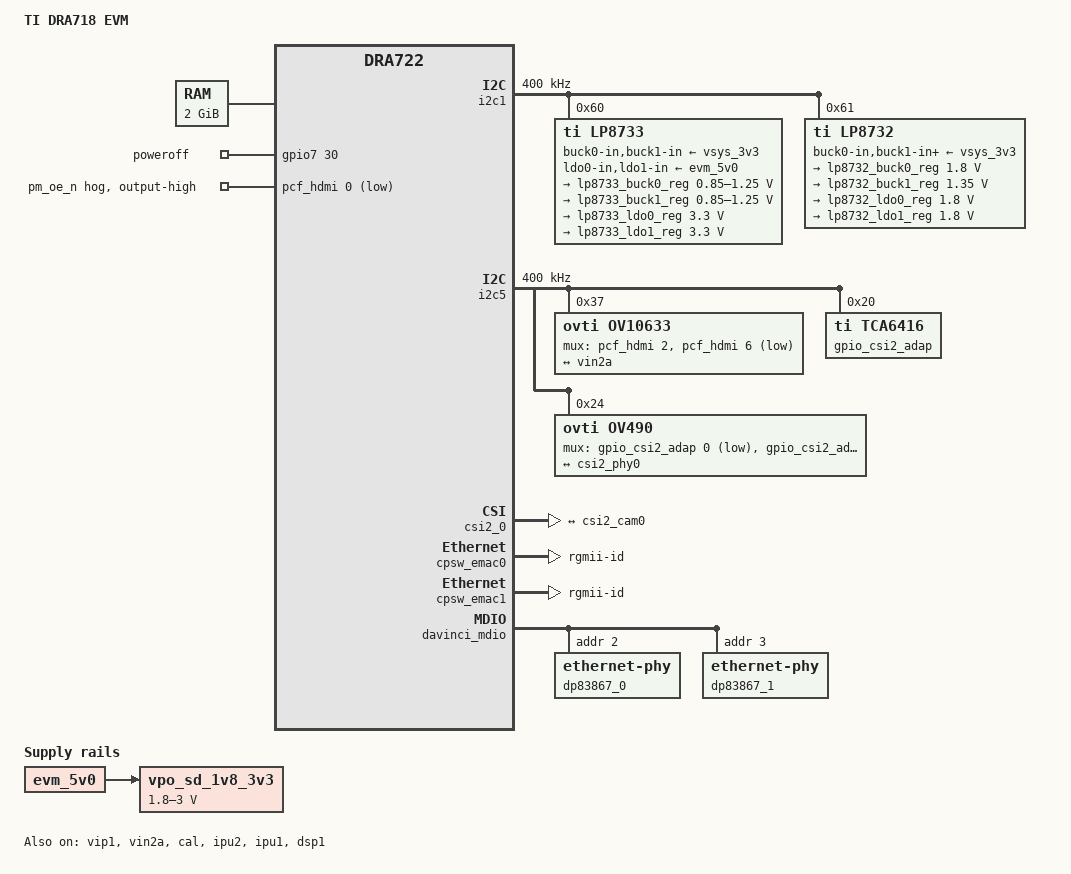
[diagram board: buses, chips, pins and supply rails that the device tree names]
/*
 * Copyright (C) 2016 Texas Instruments Incorporated - http://www.ti.com/
 *
 * This program is free software; you can redistribute it and/or modify
 * it under the terms of the GNU General Public License version 2 as
 * published by the Free Software Foundation.
 */

#include "dra72-evm-common.dtsi"
#include <dt-bindings/net/ti-dp83867.h>

/ {
	compatible = "ti,dra718-evm", "ti,dra718", "ti,dra722", "ti,dra72", "ti,dra7";
	model = "TI DRA718 EVM";

	memory {
		device_type = "memory";
		reg = <0x0 0x80000000 0x0 0x80000000>; /* 2GB */
	};

	reserved-memory {
		#address-cells = <2>;
		#size-cells = <2>;
		ranges;

		ipu2_cma_pool: ipu2_cma@95800000 {
			compatible = "shared-dma-pool";
			reg = <0x0 0x95800000 0x0 0x3800000>;
			reusable;
			status = "okay";
		};

		dsp1_cma_pool: dsp1_cma@99000000 {
			compatible = "shared-dma-pool";
			reg = <0x0 0x99000000 0x0 0x4000000>;
			reusable;
			status = "okay";
		};

		ipu1_cma_pool: ipu1_cma@9d000000 {
			compatible = "shared-dma-pool";
			reg = <0x0 0x9d000000 0x0 0x2000000>;
			reusable;
			status = "okay";
		};
	};

	vpo_sd_1v8_3v3: gpio-regulator-TPS74801 {
		compatible = "regulator-gpio";

		regulator-name = "vddshv8";
		regulator-min-microvolt = <1800000>;
		regulator-max-microvolt = <3000000>;
		regulator-boot-on;
		vin-supply = <&evm_5v0>;

		gpios = <&gpio7 11 GPIO_ACTIVE_HIGH>;
		states = <1800000 0x0
			  3000000 0x1>;
	};

	poweroff: gpio-poweroff {
		compatible = "gpio-poweroff";
		gpios = <&gpio7 30 GPIO_ACTIVE_HIGH>;
		input;
	};
};

&dra7_pmx_core {
	mmc1_pins_sdr12: pinmux_mmc1_sdr12_pins {
		pinctrl-single,pins = <
			DRA7XX_CORE_IOPAD(0x3754, (PIN_INPUT_PULLUP | MUX_MODE0)) /* mmc1_clk.clk */
			DRA7XX_CORE_IOPAD(0x3758, (PIN_INPUT_PULLUP | MUX_MODE0)) /* mmc1_cmd.cmd */
			DRA7XX_CORE_IOPAD(0x375c, (PIN_INPUT_PULLUP | MUX_MODE0)) /* mmc1_dat0.dat0 */
			DRA7XX_CORE_IOPAD(0x3760, (PIN_INPUT_PULLUP | MUX_MODE0)) /* mmc1_dat1.dat1 */
			DRA7XX_CORE_IOPAD(0x3764, (PIN_INPUT_PULLUP | MUX_MODE0)) /* mmc1_dat2.dat2 */
			DRA7XX_CORE_IOPAD(0x3768, (PIN_INPUT_PULLUP | MUX_MODE0)) /* mmc1_dat3.dat3 */
		>;
	};

	mmc1_pins_hs: mmc1_pins_hs {
		pinctrl-single,pins = <
			DRA7XX_CORE_IOPAD(0x3754, (PIN_INPUT_PULLUP | MUX_MODE0)) /* mmc1_clk.clk */
			DRA7XX_CORE_IOPAD(0x3758, (PIN_INPUT_PULLUP | MUX_MODE0)) /* mmc1_cmd.cmd */
			DRA7XX_CORE_IOPAD(0x375c, (PIN_INPUT_PULLUP | MUX_MODE0)) /* mmc1_dat0.dat0 */
			DRA7XX_CORE_IOPAD(0x3760, (PIN_INPUT_PULLUP | MUX_MODE0)) /* mmc1_dat1.dat1 */
			DRA7XX_CORE_IOPAD(0x3764, (PIN_INPUT_PULLUP | MUX_MODE0)) /* mmc1_dat2.dat2 */
			DRA7XX_CORE_IOPAD(0x3768, (PIN_INPUT_PULLUP | MUX_MODE0)) /* mmc1_dat3.dat3 */
		>;
	};

	mmc1_pins_sdr25: pinmux_mmc1_sdr25_pins {
		pinctrl-single,pins = <
			DRA7XX_CORE_IOPAD(0x3754, (PIN_INPUT_PULLUP | MUX_MODE0)) /* mmc1_clk.clk */
			DRA7XX_CORE_IOPAD(0x3758, (PIN_INPUT_PULLUP | MUX_MODE0)) /* mmc1_cmd.cmd */
			DRA7XX_CORE_IOPAD(0x375c, (PIN_INPUT_PULLUP | MUX_MODE0)) /* mmc1_dat0.dat0 */
			DRA7XX_CORE_IOPAD(0x3760, (PIN_INPUT_PULLUP | MUX_MODE0)) /* mmc1_dat1.dat1 */
			DRA7XX_CORE_IOPAD(0x3764, (PIN_INPUT_PULLUP | MUX_MODE0)) /* mmc1_dat2.dat2 */
			DRA7XX_CORE_IOPAD(0x3768, (PIN_INPUT_PULLUP | MUX_MODE0)) /* mmc1_dat3.dat3 */
		>;
	};

	mmc1_pins_sdr50: pinmux_mmc1_sdr50_pins {
		pinctrl-single,pins = <
			DRA7XX_CORE_IOPAD(0x3754, (PIN_INPUT_PULLUP | MUX_VIRTUAL_MODE15 | MUX_MODE0))	/* mmc1_clk.clk */
			DRA7XX_CORE_IOPAD(0x3758, (PIN_INPUT_PULLUP | MUX_VIRTUAL_MODE15 | MUX_MODE0))	/* mmc1_cmd.cmd */
			DRA7XX_CORE_IOPAD(0x375c, (PIN_INPUT_PULLUP | MUX_VIRTUAL_MODE15 | MUX_MODE0))	/* mmc1_dat0.dat0 */
			DRA7XX_CORE_IOPAD(0x3760, (PIN_INPUT_PULLUP | MUX_VIRTUAL_MODE15 | MUX_MODE0))	/* mmc1_dat1.dat1 */
			DRA7XX_CORE_IOPAD(0x3764, (PIN_INPUT_PULLUP | MUX_VIRTUAL_MODE15 | MUX_MODE0))	/* mmc1_dat2.dat2 */
			DRA7XX_CORE_IOPAD(0x3768, (PIN_INPUT_PULLUP | MUX_VIRTUAL_MODE15 | MUX_MODE0))	/* mmc1_dat3.dat3 */
		>;
	};

	mmc1_pins_ddr50: pinmux_mmc1_ddr50_pins {
		pinctrl-single,pins = <
			DRA7XX_CORE_IOPAD(0x3754, (PIN_INPUT_PULLUP | MANUAL_MODE | MUX_MODE0))	/* mmc1_clk.clk */
			DRA7XX_CORE_IOPAD(0x3758, (PIN_INPUT_PULLUP | MANUAL_MODE | MUX_MODE0))	/* mmc1_cmd.cmd */
			DRA7XX_CORE_IOPAD(0x375c, (PIN_INPUT_PULLUP | MANUAL_MODE | MUX_MODE0))	/* mmc1_dat0.dat0 */
			DRA7XX_CORE_IOPAD(0x3760, (PIN_INPUT_PULLUP | MANUAL_MODE | MUX_MODE0))	/* mmc1_dat1.dat1 */
			DRA7XX_CORE_IOPAD(0x3764, (PIN_INPUT_PULLUP | MANUAL_MODE | MUX_MODE0))	/* mmc1_dat2.dat2 */
			DRA7XX_CORE_IOPAD(0x3768, (PIN_INPUT_PULLUP | MANUAL_MODE | MUX_MODE0))	/* mmc1_dat3.dat3 */
		>;
	};

	mmc1_pins_sdr104: pinmux_mmc1_sdr104_pins {
		pinctrl-single,pins = <
			DRA7XX_CORE_IOPAD(0x3754, (PIN_INPUT_PULLUP | MANUAL_MODE | MUX_MODE0))	/* mmc1_clk.clk */
			DRA7XX_CORE_IOPAD(0x3758, (PIN_INPUT_PULLUP | MANUAL_MODE | MUX_MODE0))	/* mmc1_cmd.cmd */
			DRA7XX_CORE_IOPAD(0x375c, (PIN_INPUT_PULLUP | MANUAL_MODE | MUX_MODE0))	/* mmc1_dat0.dat0 */
			DRA7XX_CORE_IOPAD(0x3760, (PIN_INPUT_PULLUP | MANUAL_MODE | MUX_MODE0))	/* mmc1_dat1.dat1 */
			DRA7XX_CORE_IOPAD(0x3764, (PIN_INPUT_PULLUP | MANUAL_MODE | MUX_MODE0))	/* mmc1_dat2.dat2 */
			DRA7XX_CORE_IOPAD(0x3768, (PIN_INPUT_PULLUP | MANUAL_MODE | MUX_MODE0))	/* mmc1_dat3.dat3 */
		>;
	};

	mmc2_pins_hs: mmc2_pins_hs {
		pinctrl-single,pins = <
			DRA7XX_CORE_IOPAD(0x349c, (PIN_INPUT_PULLUP | MUX_MODE1)) /* gpmc_a23.mmc2_clk */
			DRA7XX_CORE_IOPAD(0x34b0, (PIN_INPUT_PULLUP | MUX_MODE1)) /* gpmc_cs1.mmc2_cmd */
			DRA7XX_CORE_IOPAD(0x34a0, (PIN_INPUT_PULLUP | MUX_MODE1)) /* gpmc_a24.mmc2_dat0 */
			DRA7XX_CORE_IOPAD(0x34a4, (PIN_INPUT_PULLUP | MUX_MODE1)) /* gpmc_a25.mmc2_dat1 */
			DRA7XX_CORE_IOPAD(0x34a8, (PIN_INPUT_PULLUP | MUX_MODE1)) /* gpmc_a26.mmc2_dat2 */
			DRA7XX_CORE_IOPAD(0x34ac, (PIN_INPUT_PULLUP | MUX_MODE1)) /* gpmc_a27.mmc2_dat3 */
			DRA7XX_CORE_IOPAD(0x348c, (PIN_INPUT_PULLUP | MUX_MODE1)) /* gpmc_a19.mmc2_dat4 */
			DRA7XX_CORE_IOPAD(0x3490, (PIN_INPUT_PULLUP | MUX_MODE1)) /* gpmc_a20.mmc2_dat5 */
			DRA7XX_CORE_IOPAD(0x3494, (PIN_INPUT_PULLUP | MUX_MODE1)) /* gpmc_a21.mmc2_dat6 */
			DRA7XX_CORE_IOPAD(0x3498, (PIN_INPUT_PULLUP | MUX_MODE1)) /* gpmc_a22.mmc2_dat7 */
		>;
	};

	mmc2_pins_ddr_1_8v: mmc2_pins_ddr_1_8v {
		pinctrl-single,pins = <
			DRA7XX_CORE_IOPAD(0x349c, (PIN_INPUT_PULLUP | MANUAL_MODE | MUX_MODE1)) /* gpmc_a23.mmc2_clk */
			DRA7XX_CORE_IOPAD(0x34b0, (PIN_INPUT_PULLUP | MANUAL_MODE | MUX_MODE1)) /* gpmc_cs1.mmc2_cmd */
			DRA7XX_CORE_IOPAD(0x34a0, (PIN_INPUT_PULLUP | MANUAL_MODE | MUX_MODE1)) /* gpmc_a24.mmc2_dat0 */
			DRA7XX_CORE_IOPAD(0x34a4, (PIN_INPUT_PULLUP | MANUAL_MODE | MUX_MODE1)) /* gpmc_a25.mmc2_dat1 */
			DRA7XX_CORE_IOPAD(0x34a8, (PIN_INPUT_PULLUP | MANUAL_MODE | MUX_MODE1)) /* gpmc_a26.mmc2_dat2 */
			DRA7XX_CORE_IOPAD(0x34ac, (PIN_INPUT_PULLUP | MANUAL_MODE | MUX_MODE1)) /* gpmc_a27.mmc2_dat3 */
			DRA7XX_CORE_IOPAD(0x348c, (PIN_INPUT_PULLUP | MANUAL_MODE | MUX_MODE1)) /* gpmc_a19.mmc2_dat4 */
			DRA7XX_CORE_IOPAD(0x3490, (PIN_INPUT_PULLUP | MANUAL_MODE | MUX_MODE1)) /* gpmc_a20.mmc2_dat5 */
			DRA7XX_CORE_IOPAD(0x3494, (PIN_INPUT_PULLUP | MANUAL_MODE | MUX_MODE1)) /* gpmc_a21.mmc2_dat6 */
			DRA7XX_CORE_IOPAD(0x3498, (PIN_INPUT_PULLUP | MANUAL_MODE | MUX_MODE1)) /* gpmc_a22.mmc2_dat7 */
		>;
	};

	mmc2_pins_hs200_1_8v: mmc2_pins_hs200_1_8v {
		pinctrl-single,pins = <
			DRA7XX_CORE_IOPAD(0x349c, (PIN_INPUT_PULLUP | MANUAL_MODE | MUX_MODE1)) /* gpmc_a23.mmc2_clk */
			DRA7XX_CORE_IOPAD(0x34b0, (PIN_INPUT_PULLUP | MANUAL_MODE | MUX_MODE1)) /* gpmc_cs1.mmc2_cmd */
			DRA7XX_CORE_IOPAD(0x34a0, (PIN_INPUT_PULLUP | MANUAL_MODE | MUX_MODE1)) /* gpmc_a24.mmc2_dat0 */
			DRA7XX_CORE_IOPAD(0x34a4, (PIN_INPUT_PULLUP | MANUAL_MODE | MUX_MODE1)) /* gpmc_a25.mmc2_dat1 */
			DRA7XX_CORE_IOPAD(0x34a8, (PIN_INPUT_PULLUP | MANUAL_MODE | MUX_MODE1)) /* gpmc_a26.mmc2_dat2 */
			DRA7XX_CORE_IOPAD(0x34ac, (PIN_INPUT_PULLUP | MANUAL_MODE | MUX_MODE1)) /* gpmc_a27.mmc2_dat3 */
			DRA7XX_CORE_IOPAD(0x348c, (PIN_INPUT_PULLUP | MANUAL_MODE | MUX_MODE1)) /* gpmc_a19.mmc2_dat4 */
			DRA7XX_CORE_IOPAD(0x3490, (PIN_INPUT_PULLUP | MANUAL_MODE | MUX_MODE1)) /* gpmc_a20.mmc2_dat5 */
			DRA7XX_CORE_IOPAD(0x3494, (PIN_INPUT_PULLUP | MANUAL_MODE | MUX_MODE1)) /* gpmc_a21.mmc2_dat6 */
			DRA7XX_CORE_IOPAD(0x3498, (PIN_INPUT_PULLUP | MANUAL_MODE | MUX_MODE1)) /* gpmc_a22.mmc2_dat7 */
		>;
	};
};

&dra7_iodelay_core {
	mmc1_iodelay_ddr50_conf: mmc1_iodelay_ddr50_conf {
		pinctrl-single,pins = <
			0x618 (A_DELAY(0) | G_DELAY(0))		/* CFG_MMC1_CLK_IN */
			0x624 (A_DELAY(0) | G_DELAY(0))		/* CFG_MMC1_CMD_IN */
			0x630 (A_DELAY(495) | G_DELAY(0))	/* CFG_MMC1_DAT0_IN */
			0x63C (A_DELAY(116) | G_DELAY(0))	/* CFG_MMC1_DAT1_IN */
			0x648 (A_DELAY(117) | G_DELAY(0))	/* CFG_MMC1_DAT2_IN */
			0x654 (A_DELAY(32) | G_DELAY(0))	/* CFG_MMC1_DAT3_IN */
			0x620 (A_DELAY(1224) | G_DELAY(0))	/* CFG_MMC1_CLK_OUT */
			0x62C (A_DELAY(0) | G_DELAY(0))		/* CFG_MMC1_CMD_OUT */
			0x638 (A_DELAY(44) | G_DELAY(0))	/* CFG_MMC1_DAT0_OUT */
			0x644 (A_DELAY(64) | G_DELAY(0))	/* CFG_MMC1_DAT1_OUT */
			0x650 (A_DELAY(79) | G_DELAY(0))	/* CFG_MMC1_DAT2_OUT */
			0x65C (A_DELAY(87) | G_DELAY(0))	/* CFG_MMC1_DAT3_OUT */
			0x628 (A_DELAY(0) | G_DELAY(0))		/* CFG_MMC1_CMD_OEN */
			0x634 (A_DELAY(0) | G_DELAY(0))		/* CFG_MMC1_DAT0_OEN */
			0x640 (A_DELAY(0) | G_DELAY(0))		/* CFG_MMC1_DAT1_OEN */
			0x64C (A_DELAY(0) | G_DELAY(0))		/* CFG_MMC1_DAT2_OEN */
			0x658 (A_DELAY(0) | G_DELAY(0))		/* CFG_MMC1_DAT3_OEN */
		>;
	};

	mmc1_iodelay_sdr104_conf: mmc1_iodelay_sdr104_conf {
		pinctrl-single,pins = <
			0x620 (A_DELAY(520) | G_DELAY(320))	/* CFG_MMC1_CLK_OUT */
			0x62c (A_DELAY(0) | G_DELAY(0))		/* CFG_MMC1_CMD_OUT */
			0x638 (A_DELAY(40) | G_DELAY(0))	/* CFG_MMC1_DAT0_OUT */
			0x644 (A_DELAY(83) | G_DELAY(0))	/* CFG_MMC1_DAT1_OUT */
			0x650 (A_DELAY(98) | G_DELAY(0))	/* CFG_MMC1_DAT2_OUT */
			0x65c (A_DELAY(106) | G_DELAY(0))	/* CFG_MMC1_DAT3_OUT */
			0x628 (A_DELAY(51) | G_DELAY(0))	/* CFG_MMC1_CMD_OEN */
			0x634 (A_DELAY(0) | G_DELAY(0))		/* CFG_MMC1_DAT0_OEN */
			0x640 (A_DELAY(363) | G_DELAY(0))	/* CFG_MMC1_DAT1_OEN */
			0x64c (A_DELAY(199) | G_DELAY(0))	/* CFG_MMC1_DAT2_OEN */
			0x658 (A_DELAY(273) | G_DELAY(0))	/* CFG_MMC1_DAT3_OEN */
		>;
	};

	mmc2_iodelay_ddr_1_8v_conf: mmc2_iodelay_ddr_1_8v_conf {
		pinctrl-single,pins = <
			0x18c (A_DELAY(0) | G_DELAY(0))		/* CFG_GPMC_A19_IN */
			0x1a4 (A_DELAY(121) | G_DELAY(0))	/* CFG_GPMC_A20_IN */
			0x1b0 (A_DELAY(0) | G_DELAY(0))		/* CFG_GPMC_A21_IN */
			0x1bc (A_DELAY(20) | G_DELAY(0))	/* CFG_GPMC_A22_IN */
			0x1c8 (A_DELAY(108) | G_DELAY(0))	/* CFG_GPMC_A23_IN */
			0x1d4 (A_DELAY(31) | G_DELAY(0))	/* CFG_GPMC_A24_IN */
			0x1e0 (A_DELAY(0) | G_DELAY(0))		/* CFG_GPMC_A25_IN */
			0x1ec (A_DELAY(24) | G_DELAY(0))	/* CFG_GPMC_A26_IN */
			0x1f8 (A_DELAY(0) | G_DELAY(0))		/* CFG_GPMC_A27_IN */
			0x360 (A_DELAY(0) | G_DELAY(0))		/* CFG_GPMC_CS1_IN */
			0x194 (A_DELAY(152) | G_DELAY(0))	/* CFG_GPMC_A19_OUT */
			0x1ac (A_DELAY(206) | G_DELAY(0))	/* CFG_GPMC_A20_OUT */
			0x1b8 (A_DELAY(78) | G_DELAY(0))	/* CFG_GPMC_A21_OUT */
			0x1c4 (A_DELAY(2) | G_DELAY(0))		/* CFG_GPMC_A22_OUT */
			0x1d0 (A_DELAY(266) | G_DELAY(0))	/* CFG_GPMC_A23_OUT */
			0x1dc (A_DELAY(0) | G_DELAY(0))		/* CFG_GPMC_A24_OUT */
			0x1e8 (A_DELAY(0) | G_DELAY(0))		/* CFG_GPMC_A25_OUT */
			0x1f4 (A_DELAY(43) | G_DELAY(0))	/* CFG_GPMC_A26_OUT */
			0x200 (A_DELAY(0) | G_DELAY(0))		/* CFG_GPMC_A27_OUT */
			0x368 (A_DELAY(0) | G_DELAY(0))		/* CFG_GPMC_CS1_OUT */
			0x190 (A_DELAY(0) | G_DELAY(0))		/* CFG_GPMC_A19_OEN */
			0x1a8 (A_DELAY(0) | G_DELAY(0))		/* CFG_GPMC_A20_OEN */
			0x1b4 (A_DELAY(0) | G_DELAY(0))		/* CFG_GPMC_A21_OEN */
			0x1c0 (A_DELAY(0) | G_DELAY(0))		/* CFG_GPMC_A22_OEN */
			0x1d8 (A_DELAY(0) | G_DELAY(0))		/* CFG_GPMC_A24_OEN */
			0x1e4 (A_DELAY(0) | G_DELAY(0))		/* CFG_GPMC_A25_OEN */
			0x1f0 (A_DELAY(0) | G_DELAY(0))		/* CFG_GPMC_A26_OEN */
			0x1fc (A_DELAY(0) | G_DELAY(0))		/* CFG_GPMC_A27_OEN */
			0x364 (A_DELAY(0) | G_DELAY(0))		/* CFG_GPMC_CS1_OEN */
		>;
	};

	mmc2_iodelay_hs200_1_8v_conf: mmc2_iodelay_hs200_1_8v_conf {
		pinctrl-single,pins = <
			0x194 (A_DELAY(135) | G_DELAY(0))	/* CFG_GPMC_A19_OUT */
			0x1ac (A_DELAY(189) | G_DELAY(0))	/* CFG_GPMC_A20_OUT */
			0x1b8 (A_DELAY(0) | G_DELAY(120))	/* CFG_GPMC_A21_OUT */
			0x1c4 (A_DELAY(0) | G_DELAY(70))	/* CFG_GPMC_A22_OUT */
			0x1d0 (A_DELAY(730) | G_DELAY(360))	/* CFG_GPMC_A23_OUT */
			0x1dc (A_DELAY(0) | G_DELAY(0))		/* CFG_GPMC_A24_OUT */
			0x1e8 (A_DELAY(0) | G_DELAY(0))		/* CFG_GPMC_A25_OUT */
			0x1f4 (A_DELAY(70) | G_DELAY(0))	/* CFG_GPMC_A26_OUT */
			0x200 (A_DELAY(0) | G_DELAY(0))		/* CFG_GPMC_A27_OUT */
			0x368 (A_DELAY(0) | G_DELAY(120))	/* CFG_GPMC_CS1_OUT */
			0x190 (A_DELAY(0) | G_DELAY(0))		/* CFG_GPMC_A19_OEN */
			0x1a8 (A_DELAY(231) | G_DELAY(0))	/* CFG_GPMC_A20_OEN */
			0x1b4 (A_DELAY(39) | G_DELAY(0))	/* CFG_GPMC_A21_OEN */
			0x1c0 (A_DELAY(91) | G_DELAY(0))	/* CFG_GPMC_A22_OEN */
			0x1d8 (A_DELAY(176) | G_DELAY(0))	/* CFG_GPMC_A24_OEN */
			0x1e4 (A_DELAY(0) | G_DELAY(0))		/* CFG_GPMC_A25_OEN */
			0x1f0 (A_DELAY(101) | G_DELAY(0))	/* CFG_GPMC_A26_OEN */
			0x1fc (A_DELAY(0) | G_DELAY(0))		/* CFG_GPMC_A27_OEN */
			0x364 (A_DELAY(360) | G_DELAY(0))	/* CFG_GPMC_CS1_OEN */
		>;
	};
};

&i2c1 {
	status = "okay";
	clock-frequency = <400000>;

	lp8733: lp8733@60 {
		compatible = "ti,lp8733";
		reg = <0x60>;

		buck0-in-supply =<&vsys_3v3>;
		buck1-in-supply =<&vsys_3v3>;
		ldo0-in-supply =<&evm_5v0>;
		ldo1-in-supply =<&evm_5v0>;

		lp8733_regulators: regulators {
			lp8733_buck0_reg: buck0 {
				/* FB_B0 -> LP8733-BUCK1 - VPO_S1_AVS - VDD_CORE_AVS (core, mpu, gpu) */
				regulator-name = "lp8733-buck0";
				regulator-min-microvolt = <850000>;
				regulator-max-microvolt = <1250000>;
				regulator-always-on;
				regulator-boot-on;
			};

			lp8733_buck1_reg: buck1 {
				/* FB_B1 -> LP8733-BUCK2 - VPO_S2_AVS - VDD_DSP_AVS (DSP/eve/iva) */
				regulator-name = "lp8733-buck1";
				regulator-min-microvolt = <850000>;
				regulator-max-microvolt = <1250000>;
				regulator-boot-on;
				regulator-always-on;
			};

			lp8733_ldo0_reg: ldo0 {
				/* LDO0 -> LP8733-LDO1 - VPO_L1_3V3 - VDDSHV8 (optional) */
				regulator-name = "lp8733-ldo0";
				regulator-min-microvolt = <3300000>;
				regulator-max-microvolt = <3300000>;
			};

			lp8733_ldo1_reg: ldo1 {
				/* LDO1 -> LP8733-LDO2 - VPO_L2_3V3 - VDDA_USB3V3 */
				regulator-name = "lp8733-ldo1";
				regulator-min-microvolt = <3300000>;
				regulator-max-microvolt = <3300000>;
				regulator-always-on;
				regulator-boot-on;
			};
		};
	};

	lp8732: lp8732@61 {
		compatible = "ti,lp8732";
		reg = <0x61>;

		buck0-in-supply =<&vsys_3v3>;
		buck1-in-supply =<&vsys_3v3>;
		ldo0-in-supply =<&vsys_3v3>;
		ldo1-in-supply =<&vsys_3v3>;

		lp8732_regulators: regulators {
			lp8732_buck0_reg: buck0 {
				/* FB_B0 -> LP8732-BUCK1 - VPO_S3_1V8 - VDDS_1V8 */
				regulator-name = "lp8732-buck0";
				regulator-min-microvolt = <1800000>;
				regulator-max-microvolt = <1800000>;
				regulator-always-on;
				regulator-boot-on;
			};

			lp8732_buck1_reg: buck1 {
				/* FB_B1 -> LP8732-BUCK2 - VPO_S4_DDR - VDD_DDR_1V35 */
				regulator-name = "lp8732-buck1";
				regulator-min-microvolt = <1350000>;
				regulator-max-microvolt = <1350000>;
				regulator-boot-on;
				regulator-always-on;
			};

			lp8732_ldo0_reg: ldo0 {
				/* LDO0 -> LP8732-LDO1 - VPO_L3_1V8 - VDA_1V8_PLL */
				regulator-name = "lp8732-ldo0";
				regulator-min-microvolt = <1800000>;
				regulator-max-microvolt = <1800000>;
				regulator-boot-on;
				regulator-always-on;
			};

			lp8732_ldo1_reg: ldo1 {
				/* LDO1 -> LP8732-LDO2 - VPO_L4_1V8 - VDA_1V8_PHY */
				regulator-name = "lp8732-ldo1";
				regulator-min-microvolt = <1800000>;
				regulator-max-microvolt = <1800000>;
				regulator-always-on;
				regulator-boot-on;
			};
		};
	};
};

&i2c5 {
	status = "okay";
	clock-frequency = <400000>;

	ov10633@37 {
		compatible = "ovti,ov10633";
		reg = <0x37>;

		mux-gpios = <&pcf_hdmi 2	GPIO_ACTIVE_HIGH>, /* VIN2_S0 */
			    <&pcf_hdmi 6	GPIO_ACTIVE_LOW>; /* VIN2_S2 */
		port {
			onboardLI: endpoint {
				remote-endpoint = <&vin2a>;
				hsync-active = <1>;
				vsync-active = <1>;
				pclk-sample = <0>;
			};
		};
	};

	gpio_csi2_adap: tca6416@20 {
		status = "okay";
		compatible = "ti,tca6416";
		reg = <0x20>;
		gpio-controller;
		#gpio-cells = <2>;
	};

	ov490@24 {
		compatible = "ovti,ov490";
		reg = <0x24>;

		mux-gpios = <&gpio_csi2_adap 0	GPIO_ACTIVE_LOW>,
						/* CSI2_SEL_I2C_CLK */
			    <&gpio_csi2_adap 1	GPIO_ACTIVE_HIGH>,
						/* CSI2_SEL_REF_CLK */
			    <&gpio_csi2_adap 3	GPIO_ACTIVE_HIGH>,
						/* CSI2_CAM0_RESETn */
			    <&gpio_csi2_adap 4	GPIO_ACTIVE_LOW>;
						/* CSI2_CAM0_PWR_DWN */
		port {
			csi2_cam0: endpoint@0 {
				clock-lanes = <0>;
				data-lanes = <1 2>;
				remote-endpoint = <&csi2_phy0>;
			};
		};
	};
};

&vip1 {
	status = "okay";
};

&vin2a {
	status = "okay";
	endpoint@0 {
		slave-mode;
		remote-endpoint = <&onboardLI>;
	};
};

&cal {
	status = "okay";
};

&csi2_0 {
	csi2_phy0: endpoint@0 {
		slave-mode;
		remote-endpoint = <&csi2_cam0>;
	};
};

&pcf_lcd {
	interrupt-parent = <&gpio7>;
	interrupts = <31 IRQ_TYPE_EDGE_FALLING>;
};

&pcf_gpio_21 {
	interrupt-parent = <&gpio7>;
	interrupts = <31 IRQ_TYPE_EDGE_FALLING>;
};

&pcf_hdmi {
	p0 {
		/*
		 * PM_OEn to High: Disable routing I2C3 to PM_I2C
		 * With this PM_SEL(p3) should not matter
		 */
		gpio-hog;
		gpios = <0 GPIO_ACTIVE_LOW>;
		output-high;
		line-name = "pm_oe_n";
	};
};

&mmc1 {
	pinctrl-names = "default", "hs", "sdr12", "sdr25", "sdr50", "ddr50", "sdr104";
	pinctrl-0 = <&mmc1_pins_default>;
	pinctrl-1 = <&mmc1_pins_hs>;
	pinctrl-2 = <&mmc1_pins_sdr12>;
	pinctrl-3 = <&mmc1_pins_sdr25>;
	pinctrl-4 = <&mmc1_pins_sdr50>;
	pinctrl-5 = <&mmc1_pins_ddr50 &mmc1_iodelay_ddr50_conf>;
	pinctrl-6 = <&mmc1_pins_sdr104 &mmc1_iodelay_sdr104_conf>;

	vmmc_aux-supply = <&vpo_sd_1v8_3v3>;
};

&mmc2 {
	pinctrl-names = "default", "hs", "ddr_1_8v", "hs200_1_8v";
	pinctrl-0 = <&mmc2_pins_default>;
	pinctrl-1 = <&mmc2_pins_hs>;
	pinctrl-2 = <&mmc2_pins_ddr_1_8v &mmc2_iodelay_ddr_1_8v_conf>;
	pinctrl-3 = <&mmc2_pins_hs200_1_8v &mmc2_iodelay_hs200_1_8v_conf>;
};

&mac {
	mode-gpios = <&pcf_gpio_21 4 GPIO_ACTIVE_LOW>,
		     <&pcf_hdmi 9 GPIO_ACTIVE_LOW>,	/* P11 */
		     <&pcf_hdmi 10 GPIO_ACTIVE_LOW>;	/* P12 */
	dual_emac;
};

&cpsw_emac0 {
	phy_id = <&davinci_mdio>, <2>;
	phy-mode = "rgmii-id";
	dual_emac_res_vlan = <1>;
};

&cpsw_emac1 {
	phy_id = <&davinci_mdio>, <3>;
	phy-mode = "rgmii-id";
	dual_emac_res_vlan = <2>;
};

&davinci_mdio {
	dp83867_0: ethernet-phy@2 {
		reg = <2>;
		ti,rx-internal-delay = <DP83867_RGMIIDCTL_2_25_NS>;
		ti,tx-internal-delay = <DP83867_RGMIIDCTL_250_PS>;
		ti,fifo-depth = <DP83867_PHYCR_FIFO_DEPTH_8_B_NIB>;
		ti,impedance-control = <0x1f>;
	};

	dp83867_1: ethernet-phy@3 {
		reg = <3>;
		ti,rx-internal-delay = <DP83867_RGMIIDCTL_2_25_NS>;
		ti,tx-internal-delay = <DP83867_RGMIIDCTL_250_PS>;
		ti,fifo-depth = <DP83867_PHYCR_FIFO_DEPTH_8_B_NIB>;
		ti,impedance-control = <0x1f>;
	};
};

/* No Sata on this device */
&sata_phy {
	status = "disabled";
};

&sata {
	status = "disabled";
};

/* No RTC on this device */
&rtc {
	status = "disabled";
};

&usb2_phy1 {
	phy-supply = <&lp8733_ldo1_reg>;
};

&usb2_phy2 {
	phy-supply = <&lp8733_ldo1_reg>;
};

&extcon_usb1 {
	vbus-gpio = <&pcf_lcd 14 GPIO_ACTIVE_HIGH>;
};

&extcon_usb2 {
	vbus-gpio = <&pcf_lcd 15 GPIO_ACTIVE_HIGH>;
};

&dss {
	/* Supplied by VDA_1V8_PLL */
	vdda_video-supply = <&lp8732_ldo0_reg>;
};

&hdmi {
	/* Supplied by VDA_1V8_PHY */
	vdda_video-supply = <&lp8732_ldo1_reg>;
};

&ipu2 {
	status = "okay";
	memory-region = <&ipu2_cma_pool>;
};

&ipu1 {
	status = "okay";
	memory-region = <&ipu1_cma_pool>;
};

&dsp1 {
	status = "okay";
	memory-region = <&dsp1_cma_pool>;
};
